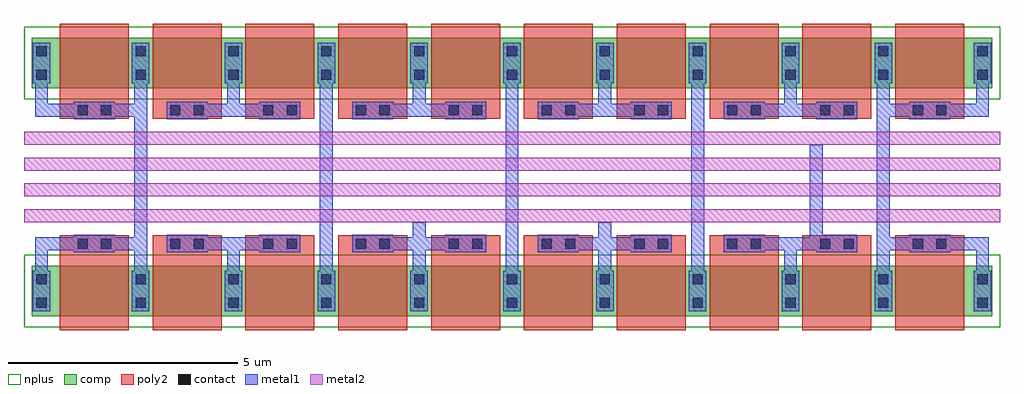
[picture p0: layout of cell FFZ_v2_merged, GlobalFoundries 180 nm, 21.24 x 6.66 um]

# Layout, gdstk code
import gdstk
lib = gdstk.Library(unit=1e-6, precision=5e-09)
def R(c, l, rs):  # rectangles x0, y0, x1, y1
    for r in rs: c.add(gdstk.rectangle(r[:2], r[2:], *l))
def A(c, l, x, y, w, h, nx, ny, dx, dy):  # array of equal rectangles
    R(c, l, [(x+i*dx, y+j*dy, x+i*dx+w, y+j*dy+h) for i in range(nx) for j in range(ny)])
comp = (22, 0)
poly2 = (30, 0)
nplus = (32, 0)
contact = (33, 0)
metal1 = (34, 0)
metal2 = (36, 0)

nfet = lib.new_cell('nfet')
R(nfet, comp, [(-0.42,0,0,1.1), (0,0,20.06,1.1), (20.06,0,20.48,1.1)])
A(nfet, poly2, 0.19, -0.3, 1.5, 1.7, 10, 1, 2.02, 0)
A(nfet, poly2, 0.19, 1.4, 1.5, 0.36, 10, 1, 2.02, 0)
R(nfet, nplus, [(-0.59,-0.24,20.65,1.34)])
A(nfet, contact, 1.84, 0.185, 0.22, 0.22, 9, 2, 2.02, 0.51)
R(nfet, contact, [(-0.32,0.185,-0.1,0.405), (20.16,0.185,20.38,0.405), (-0.32,0.695,-0.1,0.915), (20.16,0.695,20.38,0.915), (0.575,1.47,0.795,1.69), (1.085,1.47,1.305,1.69), (2.595,1.47,2.815,1.69), (3.105,1.47,3.325,1.69), (4.615,1.47,4.835,1.69), (5.125,1.47,5.345,1.69), (6.635,1.47,6.855,1.69), (7.145,1.47,7.365,1.69), (8.655,1.47,8.875,1.69), (9.165,1.47,9.385,1.69), (10.675,1.47,10.895,1.69), (11.185,1.47,11.405,1.69), (12.695,1.47,12.915,1.69), (13.205,1.47,13.425,1.69), (14.715,1.47,14.935,1.69), (15.225,1.47,15.445,1.69), (16.735,1.47,16.955,1.69), (17.245,1.47,17.465,1.69), (18.755,1.47,18.975,1.69), (19.265,1.47,19.485,1.69)])
A(nfet, metal1, 1.76, 0.105, 0.38, 0.89, 9, 1, 2.02, 0)
A(nfet, metal1, 0.495, 1.39, 0.89, 0.38, 10, 1, 2.02, 0)
R(nfet, metal1, [(-0.4,0.105,-0.02,0.995), (20.08,0.105,20.46,0.995)])

ffz_v2_merged = lib.new_cell('FFZ_v2_merged')
ffz_v2_merged.add(gdstk.FlexPath([(3.615,4.6),(24.855,4.6)], 0.28, ends="flush", simple_path=True, layer=36, datatype=0))  # metal2
ffz_v2_merged.add(gdstk.FlexPath([(3.615,5.16),(24.855,5.16)], 0.28, ends="flush", simple_path=True, layer=36, datatype=0))  # metal2
ffz_v2_merged.add(gdstk.FlexPath([(3.615,5.72),(24.855,5.72)], 0.28, ends="flush", simple_path=True, layer=36, datatype=0))  # metal2
ffz_v2_merged.add(gdstk.FlexPath([(3.615,6.28),(24.855,6.28)], 0.28, ends="flush", simple_path=True, layer=36, datatype=0))  # metal2
ffz_v2_merged.add(gdstk.FlexPath([(3.995,3.405),(3.995,3.99),(4.7,3.99)], 0.28, ends="flush", simple_path=True, layer=34, datatype=0))  # metal1
ffz_v2_merged.add(gdstk.FlexPath([(6.155,3.405),(6.155,3.99),(5.59,3.99)], 0.28, ends="flush", simple_path=True, layer=34, datatype=0))  # metal1
ffz_v2_merged.add(gdstk.FlexPath([(24.475,3.405),(24.475,3.99),(23.77,3.99)], 0.28, ends="flush", simple_path=True, layer=34, datatype=0))  # metal1
ffz_v2_merged.add(gdstk.FlexPath([(22.88,3.99),(22.315,3.99),(22.315,3.405)], 0.28, ends="flush", simple_path=True, layer=34, datatype=0))  # metal1
ffz_v2_merged.add(gdstk.FlexPath([(7.61,3.99),(8.74,3.99)], 0.28, ends="flush", simple_path=True, layer=34, datatype=0))  # metal1
ffz_v2_merged.add(gdstk.FlexPath([(8.175,3.405),(8.175,4.13)], 0.28, ends="flush", simple_path=True, layer=34, datatype=0))  # metal1
ffz_v2_merged.add(gdstk.FlexPath([(11.65,3.99),(12.78,3.99)], 0.28, ends="flush", simple_path=True, layer=34, datatype=0))  # metal1
ffz_v2_merged.add(gdstk.FlexPath([(12.215,3.405),(12.215,4.13)], 0.28, ends="flush", simple_path=True, layer=34, datatype=0))  # metal1
ffz_v2_merged.add(gdstk.FlexPath([(16.82,3.99),(15.69,3.99)], 0.28, ends="flush", simple_path=True, layer=34, datatype=0))  # metal1
ffz_v2_merged.add(gdstk.FlexPath([(16.255,3.405),(16.255,4.13)], 0.28, ends="flush", simple_path=True, layer=34, datatype=0))  # metal1
ffz_v2_merged.add(gdstk.FlexPath([(19.73,3.99),(20.86,3.99)], 0.28, ends="flush", simple_path=True, layer=34, datatype=0))  # metal1
ffz_v2_merged.add(gdstk.FlexPath([(20.295,3.405),(20.295,4.13)], 0.28, ends="flush", simple_path=True, layer=34, datatype=0))  # metal1
ffz_v2_merged.add(gdstk.FlexPath([(3.995,7.475),(3.995,6.89),(4.7,6.89)], 0.28, ends="flush", simple_path=True, layer=34, datatype=0))  # metal1
ffz_v2_merged.add(gdstk.FlexPath([(6.155,7.475),(6.155,6.89),(5.59,6.89)], 0.28, ends="flush", simple_path=True, layer=34, datatype=0))  # metal1
ffz_v2_merged.add(gdstk.FlexPath([(24.475,7.475),(24.475,6.89),(23.77,6.89)], 0.28, ends="flush", simple_path=True, layer=34, datatype=0))  # metal1
ffz_v2_merged.add(gdstk.FlexPath([(22.88,6.89),(22.315,6.89),(22.315,7.475)], 0.28, ends="flush", simple_path=True, layer=34, datatype=0))  # metal1
ffz_v2_merged.add(gdstk.FlexPath([(7.61,6.89),(8.74,6.89)], 0.28, ends="flush", simple_path=True, layer=34, datatype=0))  # metal1
ffz_v2_merged.add(gdstk.FlexPath([(8.175,7.475),(8.175,6.75)], 0.28, ends="flush", simple_path=True, layer=34, datatype=0))  # metal1
ffz_v2_merged.add(gdstk.FlexPath([(11.65,6.89),(12.78,6.89)], 0.28, ends="flush", simple_path=True, layer=34, datatype=0))  # metal1
ffz_v2_merged.add(gdstk.FlexPath([(12.215,7.475),(12.215,6.75)], 0.28, ends="flush", simple_path=True, layer=34, datatype=0))  # metal1
ffz_v2_merged.add(gdstk.FlexPath([(16.82,6.89),(15.69,6.89)], 0.28, ends="flush", simple_path=True, layer=34, datatype=0))  # metal1
ffz_v2_merged.add(gdstk.FlexPath([(16.255,7.475),(16.255,6.75)], 0.28, ends="flush", simple_path=True, layer=34, datatype=0))  # metal1
ffz_v2_merged.add(gdstk.FlexPath([(19.73,6.89),(20.86,6.89)], 0.28, ends="flush", simple_path=True, layer=34, datatype=0))  # metal1
ffz_v2_merged.add(gdstk.FlexPath([(20.295,7.475),(20.295,6.75)], 0.28, ends="flush", simple_path=True, layer=34, datatype=0))  # metal1
ffz_v2_merged.add(gdstk.FlexPath([(6.155,3.99),(6.155,6.89)], 0.28, ends="flush", simple_path=True, layer=34, datatype=0))  # metal1
ffz_v2_merged.add(gdstk.FlexPath([(10.195,3.405),(10.195,7.475)], 0.28, ends="flush", simple_path=True, layer=34, datatype=0))  # metal1
ffz_v2_merged.add(gdstk.FlexPath([(14.235,3.405),(14.235,7.475)], 0.28, ends="flush", simple_path=True, layer=34, datatype=0))  # metal1
ffz_v2_merged.add(gdstk.FlexPath([(18.275,3.405),(18.275,7.475)], 0.28, ends="flush", simple_path=True, layer=34, datatype=0))  # metal1
ffz_v2_merged.add(gdstk.FlexPath([(22.315,3.99),(22.315,6.89)], 0.28, ends="flush", simple_path=True, layer=34, datatype=0))  # metal1
ffz_v2_merged.add(gdstk.FlexPath([(12.215,4.13),(12.215,4.46)], 0.28, ends="flush", simple_path=True, layer=34, datatype=0))  # metal1
ffz_v2_merged.add(gdstk.FlexPath([(16.255,4.13),(16.255,4.46)], 0.28, ends="flush", simple_path=True, layer=34, datatype=0))  # metal1
ffz_v2_merged.add(gdstk.FlexPath([(20.86,3.99),(20.86,6.14)], 0.28, ends="flush", simple_path=True, layer=34, datatype=0))  # metal1
ffz_v2_merged.add(gdstk.Reference(nfet, (4.205,2.41)))
ffz_v2_merged.add(gdstk.Reference(nfet, (4.205,8.47), x_reflection=True))

lib.write_gds('FFZ_v2_merged.gds')
